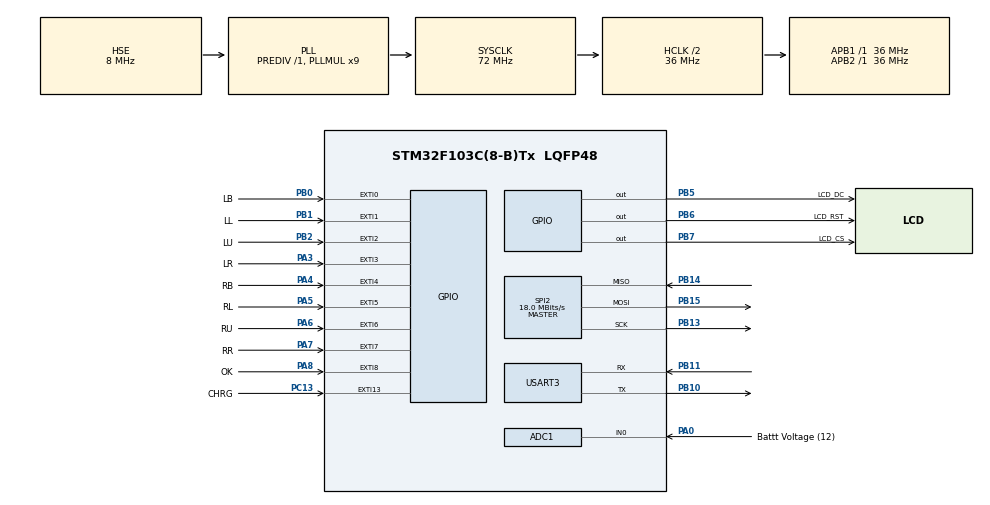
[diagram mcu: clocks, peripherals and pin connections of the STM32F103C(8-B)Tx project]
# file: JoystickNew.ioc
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Mcu.Family=STM32F1
NVIC.USART3_IRQn=true\:0\:0\:false\:false\:true\:true\:true
NVIC.ADC1_2_IRQn=true\:3\:0\:true\:false\:true\:true\:true
Dma.SPI2_TX.0.MemInc=DMA_MINC_ENABLE
NVIC.DMA1_Channel5_IRQn=true\:0\:0\:false\:false\:true\:false\:true
SPI2.VirtualType=VM_MASTER
PB10.Mode=Asynchronous
ADC1.ContinuousConvMode=DISABLE
VP_TIM4_VS_OPM.Mode=OPM_bit
PA3.GPIO_PuPd=GPIO_PULLUP
NVIC.EXTI3_IRQn=true\:0\:0\:false\:false\:true\:true\:true
PA6.GPIO_Label=RU
PB0.GPIO_Label=LB
PB6.GPIO_Label=LCD_RST
PB11.Signal=USART3_RX
PB13.Signal=SPI2_SCK
PB15.Signal=SPI2_MOSI
Dma.SPI2_TX.0.Instance=DMA1_Channel5
RCC.SYSCLKSource=RCC_SYSCLKSOURCE_PLLCLK
ProjectManager.StackSize=0x800
PD1-OSC_OUT.Signal=RCC_OSC_OUT
Dma.SPI2_TX.0.MemDataAlignment=DMA_MDATAALIGN_BYTE
PB2.GPIO_ModeDefaultEXTI=GPIO_MODE_IT_FALLING
NVIC.EXTI1_IRQn=true\:0\:0\:false\:false\:true\:true\:true
PB1.GPIO_PuPd=GPIO_PULLUP
RCC.HCLKFreq_Value=36000000
RCC.APB2TimFreq_Value=36000000
TIM3.Period=2184
PB1.GPIO_ModeDefaultEXTI=GPIO_MODE_IT_FALLING
PB6.Signal=GPIO_Output
Dma.SPI2_TX.0.Mode=DMA_NORMAL
RCC.AHBFreq_Value=36000000
SPI2.BaudRatePrescaler=SPI_BAUDRATEPRESCALER_2
NVIC.EXTI15_10_IRQn=true\:0\:0\:false\:false\:true\:true\:true
ADC1.Channel-0\#ChannelRegularConversion=ADC_CHANNEL_0
PA4.GPIO_PuPd=GPIO_PULLUP
PB2.Signal=GPXTI2
PB3.Mode=Trace_Asynchronous_SW
RCC.PLLMUL=RCC_PLL_MUL9
PB0.GPIO_ModeDefaultEXTI=GPIO_MODE_IT_FALLING
PA6.GPIO_PuPd=GPIO_PULLUP
PA14.Mode=Trace_Asynchronous_SW
PB14.Mode=Full_Duplex_Master
TIM3.Prescaler=65535
PA5.GPIO_PuPd=GPIO_PULLUP
PB1.GPIO_Label=LL
SPI2.CalculateBaudRate=18.0 MBits/s
PB7.Signal=GPIO_Output
PA8.Signal=GPXTI8
NVIC.SPI2_IRQn=true\:0\:0\:false\:false\:true\:true\:true
SH.ADCx_IN0.0=ADC1_IN0,IN0
PB2.GPIO_PuPd=GPIO_PULLUP
ADC1.SamplingTime-0\#ChannelRegularConversion=ADC_SAMPLETIME_71CYCLES_5
PB7.GPIO_Label=LCD_CS
Mcu.Package=LQFP48
PB1.Signal=GPXTI1
PA6.Signal=GPXTI6
SPI2.Mode=SPI_MODE_MASTER
PA8.GPIO_ModeDefaultEXTI=GPIO_MODE_IT_FALLING
PC13-TAMPER-RTC.GPIO_PuPd=GPIO_PULLUP
Dma.SPI2_TX.0.PeriphInc=DMA_PINC_DISABLE
PB5.GPIO_Label=LCD_DC
NVIC.EXTI2_IRQn=true\:0\:0\:false\:false\:true\:true\:true
RCC.APB1TimFreq_Value=36000000
SPI2.Direction=SPI_DIRECTION_2LINES
PB13.Mode=Full_Duplex_Master
Dma.Request0=SPI2_TX
PA4.GPIO_Label=RB
VP_TIM3_VS_ClockSourceINT.Mode=Internal
PA3.Signal=GPXTI3
RCC.PLLSourceVirtual=RCC_PLLSOURCE_HSE
NVIC.EXTI4_IRQn=true\:0\:0\:false\:false\:true\:true\:true
PA5.GPIO_ModeDefaultEXTI=GPIO_MODE_IT_FALLING
PA6.GPIO_ModeDefaultEXTI=GPIO_MODE_IT_FALLING
ADC1.Rank-0\#ChannelRegularConversion=1
PD1-OSC_OUT.Mode=HSE-External-Oscillator
PA7.GPIO_ModeDefaultEXTI=GPIO_MODE_IT_FALLING
PC13-TAMPER-RTC.Signal=GPXTI13
PD0-OSC_IN.Signal=RCC_OSC_IN
PA0-WKUP.GPIO_Label=Battt Voltage (1\\2)
PA0-WKUP.Signal=ADCx_IN0
PA3.GPIO_ModeDefaultEXTI=GPIO_MODE_IT_FALLING
RCC.ADCPresc=RCC_ADCPCLK2_DIV4
PA13.Signal=SYS_JTMS-SWDIO
PA8.GPIO_Label=OK
PB11.Mode=Asynchronous
ProjectManager.TargetToolchain=STM32CubeIDE
PB13.GPIO_Speed=GPIO_SPEED_FREQ_HIGH
PA4.GPIO_ModeDefaultEXTI=GPIO_MODE_IT_FALLING
RCC.USBFreq_Value=72000000
TIM4.Prescaler=359
PA7.GPIO_PuPd=GPIO_PULLUP
PD0-OSC_IN.Mode=HSE-External-Oscillator
PB10.Signal=USART3_TX
PB14.Signal=SPI2_MISO
PA5.Signal=GPXTI5
board=custom
PC13-TAMPER-RTC.GPIO_ModeDefaultEXTI=GPIO_MODE_IT_RISING_FALLING
PC13-TAMPER-RTC.GPIO_Label=CHRG
PB15.Mode=Full_Duplex_Master
RCC.APB2Freq_Value=36000000
Dma.SPI2_TX.0.PeriphDataAlignment=DMA_PDATAALIGN_BYTE
RCC.AHBCLKDivider=RCC_SYSCLK_DIV2
ADC1.NbrOfConversion=1
PA13.Mode=Trace_Asynchronous_SW
Mcu.Name=STM32F103C(8-B)Tx
ADC1.ExternalTrigConv=ADC_EXTERNALTRIGCONV_T3_TRGO
PB3.Signal=SYS_JTDO-TRACESWO
NVIC.EXTI0_IRQn=true\:0\:0\:false\:false\:true\:true\:true
PA4.Signal=GPXTI4
Dma.SPI2_TX.0.Priority=DMA_PRIORITY_LOW
RCC.SYSCLKFreq_VALUE=72000000
PB5.Signal=GPIO_Output
PA7.GPIO_Label=RR
ADC1.master=1
PA5.GPIO_Label=RL
USART3.VirtualMode=VM_ASYNC
NVIC.EXTI9_5_IRQn=true\:0\:0\:false\:false\:true\:true\:true
PA14.Signal=SYS_JTCK-SWCLK
PB2.GPIO_Label=LU
ProjectManager.HeapSize=0x200
PA8.GPIO_PuPd=GPIO_PULLUP
VP_TIM4_VS_ClockSourceINT.Mode=Internal
NVIC.PriorityGroup=NVIC_PRIORITYGROUP_4
ADC1.NbrOfConversionFlag=1
TIM3.TIM_MasterOutputTrigger=TIM_TRGO_UPDATE
Dma.SPI2_TX.0.Direction=DMA_MEMORY_TO_PERIPH
NVIC.TIM4_IRQn=true\:0\:0\:false\:false\:true\:true\:true
RCC.APB1Freq_Value=36000000
PB0.Signal=GPXTI0
PB0.GPIO_PuPd=GPIO_PULLUP
PA3.GPIO_Label=LR
PA7.Signal=GPXTI7

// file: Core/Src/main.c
/* USER CODE BEGIN Header */
/**
  ******************************************************************************
  * @file           : main.c
  * @brief          : Main program body
  ******************************************************************************
  * @attention
  *
  * <h2><center>&copy; Copyright (c) 2021 STMicroelectronics.
  * All rights reserved.</center></h2>
  *
  * This software component is licensed by ST under BSD 3-Clause license,
  * the "License"; You may not use this file except in compliance with the
  * License. You may obtain a copy of the License at:
  *                        opensource.org/licenses/BSD-3-Clause
  *
  ******************************************************************************
  */
/* USER CODE END Header */
#include "main.h"

/* USER CODE BEGIN Includes */
#include <string.h>
#include <stdio.h>
#include "lightning.h"
#include "BluetoothImage.h"
/* USER CODE END Includes */

/* USER CODE BEGIN PTD */
typedef void (*menumode_t)();		//Тип указателя на функцию режима для меню
/* USER CODE END PTD */

/* USER CODE BEGIN PD */

/*#define LB 0		//Сдвиги для обработки кнопок
#define LL 1
#define LU 2
#define LR 3
#define RB 4
#define RL 5
#define RU 6
#define RR 7
#define OK 8*/
/* USER CODE END PD */

ADC_HandleTypeDef hadc1;

SPI_HandleTypeDef hspi2;
DMA_HandleTypeDef hdma_spi2_tx;

TIM_HandleTypeDef htim3;
TIM_HandleTypeDef htim4;

UART_HandleTypeDef huart3;

/* USER CODE BEGIN PV */
FlagUnion IsButtonPressed;
//extern uint16_t IsButtonsPressed;				//флаг, который показывает, что нажатие кнопки нужно обработать
//[bit 16..9] | [bit 8] | [bit7] | [bit6] | [bit5] | [bit4] | [bit3] | [bit2] | [bit1] | [bit0]
//Reset State	   OK       RR       RU       RL       RB       LR       LU       LL       LB
//                EXTI8    EXTI7    EXTI6    EXTI5    EXTI4    EXTI3    EXTI2    EXTI1   EXTI0

uint8_t RecievedMode = 0;					//Получаемый режим от куба

extern FontDef Font_7x10;
extern FontDef Font_11x18;
extern FontDef Font_16x26;

extern const uint16_t Timers_cube[TOTAL_MODES];
extern int16_t Speed;
extern enum Modes CurrentMode;

uint8_t ChargePercent = 0;			//Заряд в процентах
char ChargePercentOutString[50];
extern uint8_t IsModeSwithced;
uint8_t IsModeRxd = 0;	  //Флаг для принятия ответа
uint8_t DrawBTbmp = 0;
uint8_t g_DrawChrgBmp = 0;
uint8_t SynchroFlag = 0;  //Флаг для синхронизации
uint8_t ADC_Flag = 0;	  //Если не ввести флаг на обработку ацп, то не исключены зависания
uint8_t MenuMode = 0; //Если 0 - текущий режим и частота(в Гц), 1 - "карусель" выбора режима
/* USER CODE END PV */

void SystemClock_Config(void);
static void MX_GPIO_Init(void);
static void MX_DMA_Init(void);
static void MX_ADC1_Init(void);
static void MX_SPI2_Init(void);
static void MX_USART3_UART_Init(void);
static void MX_TIM3_Init(void);
static void MX_TIM4_Init(void);
/* USER CODE BEGIN PFP */
//void Post_Processing_Buttons();

/* USER CODE END PFP */

/* USER CODE BEGIN 0 */

#define MIN_Percent_charge_mV 1650
#define Dif_Between_100_And_0_Percent_charge_mv 464
/*
 * Константы выше подобраны опытным путем
 */
void HAL_ADC_ConvCpltCallback(ADC_HandleTypeDef* hadc)
{
	if(hadc->Instance == ADC1)
	{
	    HAL_TIM_Base_Stop(&htim3);
	    ADC_Flag = 1;		//В бесконечном цикле происходит отрисовка заряда в процентах
	}
}

void HAL_SPI_TxCpltCallback(SPI_HandleTypeDef *hspi)
{
     // снимаем Chip Select только после окончания передачи DMA, не в коде программы
     // т.к. DMA работает независимо от CPU. Если это сделать в коде программы, то не исключены
	 // артефакты
     if (hspi->Instance == SPI2)
     {   // //проверяем какой SPI вызвал колбек

    	 HAL_GPIO_WritePin(CSX_PORT, CSX_PIN, GPIO_PIN_SET);
     }
}

void HAL_UART_RxCpltCallback(UART_HandleTypeDef *huart)
{
    if(huart == &huart3)
    {
	IsModeRxd = 1;
	if(SynchroFlag)
	{
	    SynchroFlag = 0;
	    CurrentMode = RecievedMode; //Перезапись режима
	    Speed = Timers_cube[RecievedMode]; //Сброс таймеров(со стороны основной МПС произошло тоже самое)
	}
	TIM4->EGR = TIM_EGR_UG;
	HAL_UART_Receive_IT(&huart3, &RecievedMode, 1);
    }
}

void HAL_TIM_PeriodElapsedCallback(TIM_HandleTypeDef *htim)
{
    if(htim->Instance == TIM4)
    {
	HAL_TIM_Base_Stop_IT(&htim4);
	DrawBTbmp = IsModeRxd;
	IsModeRxd = 0;

    }
}
/* USER CODE END 0 */

int main(void)
{
  /* USER CODE BEGIN 1 */
menumode_t CurrentMode = ShowingCurrentMode;

  /* USER CODE END 1 */

  /* MCU Configuration--------------------------------------------------------*/

  /* Reset of all peripherals, Initializes the Flash interface and the Systick. */
  HAL_Init();

  /* Configure the system clock */
  SystemClock_Config();

  /* Initialize all configured peripherals */
  MX_GPIO_Init();
  MX_DMA_Init();
  MX_ADC1_Init();
  MX_SPI2_Init();
  MX_USART3_UART_Init();
  MX_TIM3_Init();
  MX_TIM4_Init();
  /* USER CODE BEGIN 2 */
  __HAL_TIM_CLEAR_FLAG(&htim4, TIM_SR_UIF); //очищаем флаг события таймера, чтобы прерывание не сработало раньше времени
  g_DrawChrgBmp = (!(GPIOC->IDR >> 13) & 1);

//ILI9225_Unselect();
  lcd_init();
  fill_rectangle(0, 0, 220, 176, COLOR_RED);
  fill_rectangle(0, 164, 220, 176, COLOR_DARKRED);
  HAL_TIM_Base_Start(&htim3);

  HAL_ADCEx_Calibration_Start(&hadc1);
  HAL_ADC_Start_IT(&hadc1);
  TIM3->EGR = TIM_EGR_UG;				//Пренудительно генерируем событие, чтобы сразу запустить ацп

  //draw_bitmap(183, 165, 7, 10, lightning_bmp);
  HAL_UART_Receive_IT(&huart3, &RecievedMode, 1);

  /* USER CODE END 2 */

  /* Infinite loop */
  /* USER CODE BEGIN WHILE */
  while (1)
  {
	  Post_Processing_Buttons();//отработка антидребезга

//	  	  if((IsButtonsPressed >> LB) & 1)
//	  	  {
//	  		fill_rectangle(0, 0, 220, 176, COLOR_GOLD);
//	  		IsButtonsPressed&= ~(1 << LB);
//	  	  }
//	  	  if((IsButtonsPressed >> LL) & 1) //тест кнопок
//	  	  {
//	  		fill_rectangle(0, 0, 220, 176, COLOR_SILVER);
//	  		IsButtonsPressed&= ~(1 << LL);
//	  	  }
	if ((IsButtonPressed.IsButtonPressedRx >> OK) & 1)
	{
	    MenuMode ^= 1;          //инвертируем флаг по нажатию на кнопку OK
	    IsButtonPressed.IsButtonPressedRx &= ~(1 << OK);

	    IsModeSwithced = 1;
	    fill_rectangle(0, 0, 220, 164, COLOR_RED);
	    if (MenuMode)				//В зависимости от режима, заставляем указатель режима указывать на нужный нам режим
	    {
		CurrentMode = SwitchingModes;

	    }
	    else
	    {
		CurrentMode = ShowingCurrentMode;
	    }

//	  	    EXTI->IMR |= 1 << OK;
	}

	CurrentMode();	//Вызываем нужный режим по указателю

	if(DrawBTbmp)
	{
	    draw_bitmap(175, 164, 7, 12, BL_Bmp); //Если ответ есть, нарисовать иконку
	}
	else
	{
	    fill_rectangle(175, 164, 189, 177, COLOR_DARKRED); //иначе затереть
	}

	if(g_DrawChrgBmp)
	{
	    draw_bitmap(160, 164, 7, 12, lightning_bmp);
	}
	else
	{
	    fill_rectangle(160, 164, 174, 177, COLOR_DARKRED);
	}

	if (ADC_Flag)
	{

	    uint16_t mVoltage = ((336800U / 4096) * HAL_ADC_GetValue(&hadc1))
		    / 100;
	    uint8_t ChargePercent = ((mVoltage - MIN_Percent_charge_mV) * 100)
		    / Dif_Between_100_And_0_Percent_charge_mv;

	    sprintf(ChargePercentOutString, "%d%c ", ChargePercent, 37);
	    ADC_Flag = 0;
	    HAL_TIM_Base_Start(&htim3);
	    draw_string(190, 164, ChargePercentOutString, Font_7x10,
		    COLOR_WHITE, COLOR_DARKRED);
	}

    /* USER CODE END WHILE */

  }
}

void SystemClock_Config(void)
{
  RCC_OscInitTypeDef RCC_OscInitStruct = {0};
  RCC_ClkInitTypeDef RCC_ClkInitStruct = {0};
  RCC_PeriphCLKInitTypeDef PeriphClkInit = {0};

  /** Initializes the RCC Oscillators according to the specified parameters
  * in the RCC_OscInitTypeDef structure.
  */
  RCC_OscInitStruct.OscillatorType = RCC_OSCILLATORTYPE_HSE;
  RCC_OscInitStruct.HSEState = RCC_HSE_ON;
  RCC_OscInitStruct.HSEPredivValue = RCC_HSE_PREDIV_DIV1;
  RCC_OscInitStruct.HSIState = RCC_HSI_ON;
  RCC_OscInitStruct.PLL.PLLState = RCC_PLL_ON;
  RCC_OscInitStruct.PLL.PLLSource = RCC_PLLSOURCE_HSE;
  RCC_OscInitStruct.PLL.PLLMUL = RCC_PLL_MUL9;
  if (HAL_RCC_OscConfig(&RCC_OscInitStruct) != HAL_OK)
  {
    Error_Handler();
  }
  /** Initializes the CPU, AHB and APB buses clocks
  */
  RCC_ClkInitStruct.ClockType = RCC_CLOCKTYPE_HCLK|RCC_CLOCKTYPE_SYSCLK
                              |RCC_CLOCKTYPE_PCLK1|RCC_CLOCKTYPE_PCLK2;
  RCC_ClkInitStruct.SYSCLKSource = RCC_SYSCLKSOURCE_PLLCLK;
  RCC_ClkInitStruct.AHBCLKDivider = RCC_SYSCLK_DIV2;
  RCC_ClkInitStruct.APB1CLKDivider = RCC_HCLK_DIV1;
  RCC_ClkInitStruct.APB2CLKDivider = RCC_HCLK_DIV1;

  if (HAL_RCC_ClockConfig(&RCC_ClkInitStruct, FLASH_LATENCY_2) != HAL_OK)
  {
    Error_Handler();
  }
  PeriphClkInit.PeriphClockSelection = RCC_PERIPHCLK_ADC;
  PeriphClkInit.AdcClockSelection = RCC_ADCPCLK2_DIV4;
  if (HAL_RCCEx_PeriphCLKConfig(&PeriphClkInit) != HAL_OK)
  {
    Error_Handler();
  }
}

static void MX_ADC1_Init(void)
{

  ADC_ChannelConfTypeDef sConfig = {0};

  /** Common config
  */
  hadc1.Instance = ADC1;
  hadc1.Init.ScanConvMode = ADC_SCAN_DISABLE;
  hadc1.Init.ContinuousConvMode = DISABLE;
  hadc1.Init.DiscontinuousConvMode = DISABLE;
  hadc1.Init.ExternalTrigConv = ADC_EXTERNALTRIGCONV_T3_TRGO;
  hadc1.Init.DataAlign = ADC_DATAALIGN_RIGHT;
  hadc1.Init.NbrOfConversion = 1;
  if (HAL_ADC_Init(&hadc1) != HAL_OK)
  {
    Error_Handler();
  }
  /** Configure Regular Channel
  */
  sConfig.Channel = ADC_CHANNEL_0;
  sConfig.Rank = ADC_REGULAR_RANK_1;
  sConfig.SamplingTime = ADC_SAMPLETIME_71CYCLES_5;
  if (HAL_ADC_ConfigChannel(&hadc1, &sConfig) != HAL_OK)
  {
    Error_Handler();
  }

}

static void MX_SPI2_Init(void)
{

  /* SPI2 parameter configuration*/
  hspi2.Instance = SPI2;
  hspi2.Init.Mode = SPI_MODE_MASTER;
  hspi2.Init.Direction = SPI_DIRECTION_2LINES;
  hspi2.Init.DataSize = SPI_DATASIZE_8BIT;
  hspi2.Init.CLKPolarity = SPI_POLARITY_LOW;
  hspi2.Init.CLKPhase = SPI_PHASE_1EDGE;
  hspi2.Init.NSS = SPI_NSS_SOFT;
  hspi2.Init.BaudRatePrescaler = SPI_BAUDRATEPRESCALER_2;
  hspi2.Init.FirstBit = SPI_FIRSTBIT_MSB;
  hspi2.Init.TIMode = SPI_TIMODE_DISABLE;
  hspi2.Init.CRCCalculation = SPI_CRCCALCULATION_DISABLE;
  hspi2.Init.CRCPolynomial = 10;
  if (HAL_SPI_Init(&hspi2) != HAL_OK)
  {
    Error_Handler();
  }

}

static void MX_TIM3_Init(void)
{

  TIM_ClockConfigTypeDef sClockSourceConfig = {0};
  TIM_MasterConfigTypeDef sMasterConfig = {0};

  htim3.Instance = TIM3;
  htim3.Init.Prescaler = 65535;
  htim3.Init.CounterMode = TIM_COUNTERMODE_UP;
  htim3.Init.Period = 2184;
  htim3.Init.ClockDivision = TIM_CLOCKDIVISION_DIV1;
  htim3.Init.AutoReloadPreload = TIM_AUTORELOAD_PRELOAD_DISABLE;
  if (HAL_TIM_Base_Init(&htim3) != HAL_OK)
  {
    Error_Handler();
  }
  sClockSourceConfig.ClockSource = TIM_CLOCKSOURCE_INTERNAL;
  if (HAL_TIM_ConfigClockSource(&htim3, &sClockSourceConfig) != HAL_OK)
  {
    Error_Handler();
  }
  sMasterConfig.MasterOutputTrigger = TIM_TRGO_UPDATE;
  sMasterConfig.MasterSlaveMode = TIM_MASTERSLAVEMODE_DISABLE;
  if (HAL_TIMEx_MasterConfigSynchronization(&htim3, &sMasterConfig) != HAL_OK)
  {
    Error_Handler();
  }

}

static void MX_TIM4_Init(void)
{

  TIM_ClockConfigTypeDef sClockSourceConfig = {0};
  TIM_MasterConfigTypeDef sMasterConfig = {0};

  htim4.Instance = TIM4;
  htim4.Init.Prescaler = 359;
  htim4.Init.CounterMode = TIM_COUNTERMODE_UP;
  htim4.Init.Period = 65535;
  htim4.Init.ClockDivision = TIM_CLOCKDIVISION_DIV1;
  htim4.Init.AutoReloadPreload = TIM_AUTORELOAD_PRELOAD_DISABLE;
  if (HAL_TIM_Base_Init(&htim4) != HAL_OK)
  {
    Error_Handler();
  }
  sClockSourceConfig.ClockSource = TIM_CLOCKSOURCE_INTERNAL;
  if (HAL_TIM_ConfigClockSource(&htim4, &sClockSourceConfig) != HAL_OK)
  {
    Error_Handler();
  }
  if (HAL_TIM_OnePulse_Init(&htim4, TIM_OPMODE_SINGLE) != HAL_OK)
  {
    Error_Handler();
  }
  sMasterConfig.MasterOutputTrigger = TIM_TRGO_RESET;
  sMasterConfig.MasterSlaveMode = TIM_MASTERSLAVEMODE_DISABLE;
  if (HAL_TIMEx_MasterConfigSynchronization(&htim4, &sMasterConfig) != HAL_OK)
  {
    Error_Handler();
  }

}

static void MX_USART3_UART_Init(void)
{

  huart3.Instance = USART3;
  huart3.Init.BaudRate = 115200;
  huart3.Init.WordLength = UART_WORDLENGTH_8B;
  huart3.Init.StopBits = UART_STOPBITS_1;
  huart3.Init.Parity = UART_PARITY_NONE;
  huart3.Init.Mode = UART_MODE_TX_RX;
  huart3.Init.HwFlowCtl = UART_HWCONTROL_NONE;
  huart3.Init.OverSampling = UART_OVERSAMPLING_16;
  if (HAL_UART_Init(&huart3) != HAL_OK)
  {
    Error_Handler();
  }

}

static void MX_DMA_Init(void)
{

  /* DMA controller clock enable */
  __HAL_RCC_DMA1_CLK_ENABLE();

  /* DMA interrupt init */
  /* DMA1_Channel5_IRQn interrupt configuration */
  HAL_NVIC_SetPriority(DMA1_Channel5_IRQn, 0, 0);
  HAL_NVIC_EnableIRQ(DMA1_Channel5_IRQn);

}

static void MX_GPIO_Init(void)
{
  GPIO_InitTypeDef GPIO_InitStruct = {0};

  /* GPIO Ports Clock Enable */
  __HAL_RCC_GPIOC_CLK_ENABLE();
  __HAL_RCC_GPIOD_CLK_ENABLE();
  __HAL_RCC_GPIOA_CLK_ENABLE();
  __HAL_RCC_GPIOB_CLK_ENABLE();

  /*Configure GPIO pin Output Level */
  HAL_GPIO_WritePin(GPIOB, LCD_DC_Pin|LCD_RST_Pin|LCD_CS_Pin, GPIO_PIN_RESET);

  /*Configure GPIO pin : CHRG_Pin */
  GPIO_InitStruct.Pin = CHRG_Pin;
  GPIO_InitStruct.Mode = GPIO_MODE_IT_RISING_FALLING;
  GPIO_InitStruct.Pull = GPIO_PULLUP;
  HAL_GPIO_Init(CHRG_GPIO_Port, &GPIO_InitStruct);

  /*Configure GPIO pins : LR_Pin RB_Pin RL_Pin RU_Pin
                           RR_Pin OK_Pin */
  GPIO_InitStruct.Pin = LR_Pin|RB_Pin|RL_Pin|RU_Pin
                          |RR_Pin|OK_Pin;
  GPIO_InitStruct.Mode = GPIO_MODE_IT_FALLING;
  GPIO_InitStruct.Pull = GPIO_PULLUP;
  HAL_GPIO_Init(GPIOA, &GPIO_InitStruct);

  /*Configure GPIO pins : LB_Pin LL_Pin LU_Pin */
  GPIO_InitStruct.Pin = LB_Pin|LL_Pin|LU_Pin;
  GPIO_InitStruct.Mode = GPIO_MODE_IT_FALLING;
  GPIO_InitStruct.Pull = GPIO_PULLUP;
  HAL_GPIO_Init(GPIOB, &GPIO_InitStruct);

  /*Configure GPIO pins : LCD_DC_Pin LCD_RST_Pin LCD_CS_Pin */
  GPIO_InitStruct.Pin = LCD_DC_Pin|LCD_RST_Pin|LCD_CS_Pin;
  GPIO_InitStruct.Mode = GPIO_MODE_OUTPUT_PP;
  GPIO_InitStruct.Pull = GPIO_NOPULL;
  GPIO_InitStruct.Speed = GPIO_SPEED_FREQ_LOW;
  HAL_GPIO_Init(GPIOB, &GPIO_InitStruct);

  /* EXTI interrupt init*/
  HAL_NVIC_SetPriority(EXTI0_IRQn, 0, 0);
  HAL_NVIC_EnableIRQ(EXTI0_IRQn);

  HAL_NVIC_SetPriority(EXTI1_IRQn, 0, 0);
  HAL_NVIC_EnableIRQ(EXTI1_IRQn);

  HAL_NVIC_SetPriority(EXTI2_IRQn, 0, 0);
  HAL_NVIC_EnableIRQ(EXTI2_IRQn);

  HAL_NVIC_SetPriority(EXTI3_IRQn, 0, 0);
  HAL_NVIC_EnableIRQ(EXTI3_IRQn);

  HAL_NVIC_SetPriority(EXTI4_IRQn, 0, 0);
  HAL_NVIC_EnableIRQ(EXTI4_IRQn);

  HAL_NVIC_SetPriority(EXTI9_5_IRQn, 0, 0);
  HAL_NVIC_EnableIRQ(EXTI9_5_IRQn);

  HAL_NVIC_SetPriority(EXTI15_10_IRQn, 0, 0);
  HAL_NVIC_EnableIRQ(EXTI15_10_IRQn);

}

void Error_Handler(void)
{
  __disable_irq();
  while (1)
  {
  }
}

/************************ (C) COPYRIGHT STMicroelectronics *****END OF FILE****/
